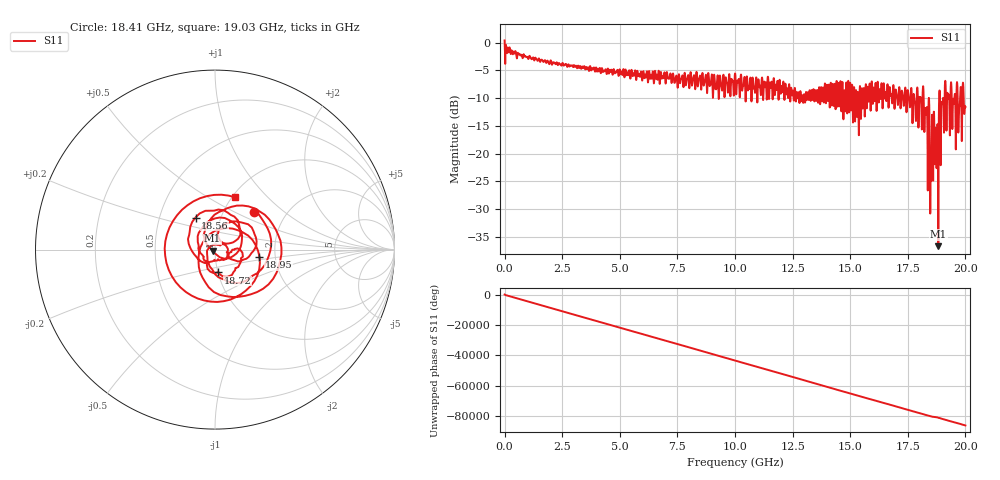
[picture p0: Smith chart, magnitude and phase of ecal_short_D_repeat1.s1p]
! MS46122B
! 2250307/22442219
! 7/25/2025 1:41:47 PM
! C:\USERS\SPARKY\DOCUMENTS\VNA_DATA\JULY25_2025\3K\ECAL_SHORT_D_REPEAT1.S1P
! CHANNEL.1
! TR.MEASUREMENT
! RAW.DATA
# GHZ S RI R 50.0
! FREQ.GHZ  S11RE  S11IM
!; PortSelection: Port_1
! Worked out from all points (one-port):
!   10001 points, 1 MHz to 20 GHz, reference 50 ohm
!   lowest |S11| = -36.7 dB at 18.82 GHz (marker M1), VSWR 1.03, Z = 48.7 - j0.568 ohm
!   |S11| at or under -10 dB: 18.19 GHz to 18.41 GHz (224.4 MHz wide, 1.23 % of centre); 18.42 GHz to 18.86 GHz (441 MHz wide, 2.37 % of centre); 18.89 GHz to 19.03 GHz (134.8 MHz wide, 0.711 % of centre) (the widest 3 of 85)
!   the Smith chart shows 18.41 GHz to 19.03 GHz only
!   S11 on the Smith chart (normalised r, x): 18.41 GHz: 1.38, +0.65; 18.56 GHz: 0.76, +0.28; 18.72 GHz: 1.00, -0.26; 18.95 GHz: 1.65, -0.14; 19.03 GHz: 1.04, +0.67
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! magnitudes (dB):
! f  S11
! 1 MHz  0.4
! 2.501 GHz  -3.8
! 5.001 GHz  -4.8
! 7.501 GHz  -7.8
! 10 GHz  -5.6
! 12.5 GHz  -8.9
! 15 GHz  -7.2
! 15.29 GHz  -13.3
! 16.02 GHz  -8.1
! 17.5 GHz  -8.6
! 18.1 GHz  -13.4
! 18.24 GHz  -12.5
! 18.29 GHz  -12.8
! 18.35 GHz  -14.5
! 18.41 GHz  -10.3
! 18.44 GHz  -14.0
! 18.56 GHz  -13.6
! 18.63 GHz  -12.5
! 18.72 GHz  -17.9
! 18.82 GHz  -36.7
! 18.95 GHz  -12.0
! 19.03 GHz  -10.1
! 19.2 GHz  -11.3
! 19.25 GHz  -10.1
! 19.46 GHz  -10.8
! 19.51 GHz  -10.8
! 19.56 GHz  -11.2
! 20 GHz  -11.6
